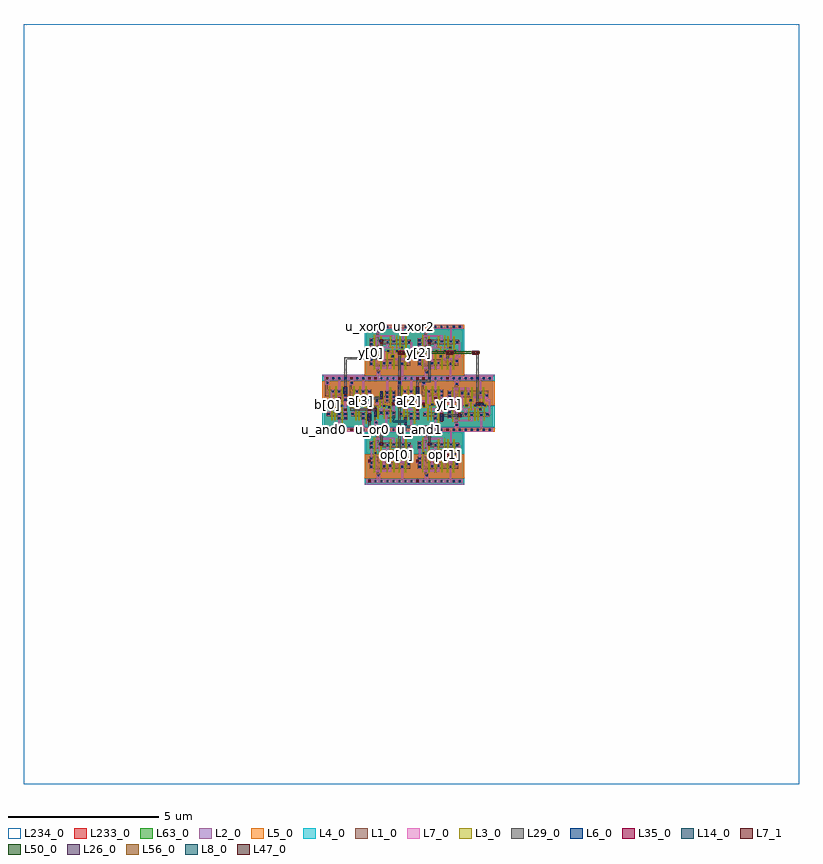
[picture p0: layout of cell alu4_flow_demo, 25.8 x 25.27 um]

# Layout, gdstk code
import gdstk
lib = gdstk.Library(unit=1e-6, precision=1e-09)
def R(c, l, rs):  # rectangles x0, y0, x1, y1
    for r in rs: c.add(gdstk.rectangle(r[:2], r[2:], *l))
def A(c, l, x, y, w, h, nx, ny, dx, dy):  # array of equal rectangles
    R(c, l, [(x+i*dx, y+j*dy, x+i*dx+w, y+j*dy+h) for i in range(nx) for j in range(ny)])
def P(c, l, *ps):  # polygons
    for p in ps: c.add(gdstk.Polygon(p, *l))
L1_0 = (1, 0)
L2_0 = (2, 0)
L3_0 = (3, 0)
L4_0 = (4, 0)
L5_0 = (5, 0)
L6_0 = (6, 0)
L7_0 = (7, 0)
L7_1 = (7, 1)
L8_0 = (8, 0)
L14_0 = (14, 0)
L26_0 = (26, 0)
L29_0 = (29, 0)
L35_0 = (35, 0)
L47_0 = (47, 0)
L50_0 = (50, 0)
L56_0 = (56, 0)
L63_0 = (63, 0)
L233_0 = (233, 0)
L234_0 = (234, 0)

and2x1 = lib.new_cell('AND2X1')
R(and2x1, L1_0, [(0,-0.06,0.8,0.06), (0,1.65,0.8,1.77)])
P(and2x1, L1_0, [(0.76,1.33),(0.11,1.33),(0.11,1.5),(0.17,1.5),(0.17,1.65),(0.05,1.65),(0.05,1.55),(0.04,1.55),(0.04,1.115),(0.475,1.115),(0.475,0.94),(0.76,0.94)],
  [(0.76,0.585),(0.09,0.585),(0.09,0.44),(0.435,0.44),(0.435,0.325),(0.76,0.325)])
R(and2x1, L2_0, [(-0.06,0.82,0.86,1.83)])
P(and2x1, L3_0, [(0.62,1.45),(0.575,1.45),(0.575,0.855),(0.51,0.855),(0.51,0.735),(0.575,0.735),(0.575,0.205),(0.62,0.205)],
  [(0.44,0.9),(0.415,0.9),(0.415,1.45),(0.37,1.45),(0.37,0.9),(0.335,0.9),(0.335,0.32),(0.38,0.32),(0.38,0.78),(0.44,0.78)],
  [(0.275,0.85),(0.205,0.85),(0.205,1.45),(0.16,1.45),(0.16,0.855),(0.05,0.855),(0.05,0.735),(0.23,0.735),(0.23,0.32),(0.275,0.32)])
R(and2x1, L4_0, [(-0.06,0.08,0.86,0.8), (-0.06,1.63,0.86,1.78)])
R(and2x1, L5_0, [(-0.06,-0.07,0.86,0.08), (-0.06,0.8,0.86,1.63)])
A(and2x1, L6_0, 0.07, -0.03, 0.06, 0.06, 4, 2, 0.2, 1.71)
A(and2x1, L6_0, 0.67, 0.97, 0.06, 0.06, 1, 3, 0, 0.135)
R(and2x1, L6_0, [(0.465,0.355,0.525,0.415), (0.67,0.355,0.73,0.415), (0.12,0.495,0.18,0.555), (0.465,0.495,0.525,0.555), (0.67,0.495,0.73,0.555), (0.085,0.765,0.145,0.825), (0.53,0.765,0.59,0.825), (0.36,0.81,0.42,0.87), (0.255,1.24,0.315,1.3), (0.465,1.24,0.525,1.3), (0.08,1.53,0.14,1.59)])
R(and2x1, L7_0, [(0.465,0.06,0.525,0.585), (0.05,0.71,0.145,0.98), (0.465,1.21,0.525,1.65), (0.04,1.5,0.17,1.65)])
P(and2x1, L7_0, [(0.74,0.755),(0.73,0.755),(0.73,1.33),(0.67,1.33),(0.67,0.755),(0.65,0.755),(0.65,0.58),(0.67,0.58),(0.67,0.325),(0.73,0.325),(0.73,0.58),(0.74,0.58)],
  [(0.59,0.855),(0.53,0.855),(0.53,0.715),(0.27,0.715),(0.27,1.21),(0.315,1.21),(0.315,1.33),(0.255,1.33),(0.255,1.27),(0.21,1.27),(0.21,0.605),(0.12,0.605),(0.12,0.465),(0.18,0.465),(0.18,0.545),(0.27,0.545),(0.27,0.645),(0.59,0.645)],
  [(0.565,1.11),(0.34,1.11),(0.34,0.78),(0.44,0.78),(0.44,0.98),(0.565,0.98)])
A(and2x1, L7_1, 0.06, -0.04, 0.08, 0.08, 1, 3, 0, 0.855)
R(and2x1, L7_1, [(0.66,0.625,0.74,0.705), (0.46,1.005,0.54,1.085)])
R(and2x1, L63_0, [(0,0,0.8,1.71)])
and2x1.add(gdstk.FlexPath([(0,0),(0.8,0)], 0.12, ends="flush", simple_path=True, layer=7, datatype=0))  # L7_0
and2x1.add(gdstk.FlexPath([(0,1.71),(0.8,1.71)], 0.12, ends="flush", simple_path=True, layer=7, datatype=0))  # L7_0
and2x1.add(gdstk.Label('VSS', (0.1,0), layer=7, texttype=1))
and2x1.add(gdstk.Label('VSS', (0.1,0), layer=7, texttype=1))
and2x1.add(gdstk.Label('Y', (0.7,0.665), layer=7, texttype=1))
and2x1.add(gdstk.Label('A', (0.5,1.045), layer=7, texttype=1))
and2x1.add(gdstk.Label('VDD', (0.1,1.71), layer=7, texttype=1))
and2x1.add(gdstk.Label('B', (0.1,0.855), layer=7, texttype=1))
and2x1.add(gdstk.Label('VDD', (0.1,1.71), layer=7, texttype=1))
and2x1.add(gdstk.Label('B', (0.1,0.855), layer=7, texttype=1))
and2x1.add(gdstk.Label('A', (0.5,1.045), layer=7, texttype=1))
and2x1.add(gdstk.Label('Y', (0.7,0.665), layer=7, texttype=1))
and2x1.add(gdstk.Label('AND2X1', (0,0.235), layer=63, texttype=0))

xor2x1 = lib.new_cell('XOR2X1')
R(xor2x1, L1_0, [(0,-0.06,1.6,0.06), (0,1.65,1.6,1.77)])
P(xor2x1, L1_0, [(1.48,0.575),(0.395,0.575),(0.395,0.64),(0.11,0.64),(0.11,0.38),(0.345,0.38),(0.345,0.06),(0.465,0.06),(0.465,0.215),(0.415,0.215),(0.415,0.43),(1.48,0.43)],
  [(1.46,1.29),(0.415,1.29),(0.415,1.46),(0.465,1.46),(0.465,1.65),(0.345,1.65),(0.345,1.29),(0.11,1.29),(0.11,0.9),(0.395,0.9),(0.395,1.075),(1.46,1.075)])
R(xor2x1, L2_0, [(-0.06,0.82,1.66,1.83)])
P(xor2x1, L3_0, [(1.395,0.865),(1.32,0.865),(1.32,1.41),(1.275,1.41),(1.275,0.82),(1.295,0.82),(1.295,0.31),(1.34,0.31),(1.34,0.745),(1.395,0.745)],
  [(1.235,0.745),(1.18,0.745),(1.18,1.025),(1.115,1.025),(1.115,1.41),(1.07,1.41),(1.07,0.975),(1.135,0.975),(1.135,0.675),(1.09,0.675),(1.09,0.31),(1.135,0.31),(1.135,0.625),(1.235,0.625)],
  [(1.075,0.855),(0.955,0.855),(0.955,0.755),(0.985,0.755),(0.985,0.3),(1.03,0.3),(1.03,0.755),(1.075,0.755)],
  [(0.935,1.41),(0.89,1.41),(0.89,1.025),(0.815,1.025),(0.815,0.925),(0.85,0.925),(0.85,0.695),(0.78,0.695),(0.78,0.31),(0.825,0.31),(0.825,0.65),(0.895,0.65),(0.895,0.925),(0.935,0.925)],
  [(0.79,0.865),(0.715,0.865),(0.715,1.41),(0.67,1.41),(0.67,0.755),(0.79,0.755)],
  [(0.51,1.41),(0.465,1.41),(0.465,0.85),(0.41,0.85),(0.41,0.73),(0.465,0.73),(0.465,0.31),(0.51,0.31)],
  [(0.35,0.835),(0.295,0.835),(0.295,1.41),(0.25,1.41),(0.25,0.26),(0.295,0.26),(0.295,0.715),(0.35,0.715)])
R(xor2x1, L4_0, [(-0.06,0.08,1.66,0.8), (-0.06,1.63,1.66,1.78)])
R(xor2x1, L5_0, [(-0.06,-0.07,1.66,0.08), (-0.06,0.8,1.66,1.63)])
A(xor2x1, L6_0, 0.07, -0.03, 0.06, 0.06, 8, 2, 0.2, 1.71)
A(xor2x1, L6_0, 0.14, 0.93, 0.06, 0.06, 1, 3, 0, 0.135)
R(xor2x1, L6_0, [(0.375,0.125,0.435,0.185), (0.14,0.42,0.2,0.48), (0.875,0.46,0.935,0.52), (1.185,0.46,1.245,0.52), (0.67,0.485,0.73,0.545), (1.39,0.485,1.45,0.545), (0.14,0.55,0.2,0.61), (1.155,0.655,1.215,0.715), (0.27,0.745,0.33,0.805), (0.43,0.76,0.49,0.82), (0.7,0.775,0.76,0.835), (0.985,0.775,1.045,0.835), (1.315,0.775,1.375,0.835), (0.845,0.945,0.905,1.005), (1.37,1.105,1.43,1.165), (0.765,1.17,0.825,1.23), (0.56,1.18,0.62,1.24), (1.165,1.2,1.225,1.26), (0.375,1.49,0.435,1.55)])
R(xor2x1, L7_0, [(0.345,0.06,0.465,0.215), (1.185,0.06,1.245,0.55), (1.165,1.17,1.225,1.65), (0.345,1.49,0.465,1.65)])
P(xor2x1, L7_0, [(1.525,1.01),(1.43,1.01),(1.43,1.195),(1.37,1.195),(1.37,1.11),(0.89,1.11),(0.89,1.005),(0.815,1.005),(0.815,0.945),(0.95,0.945),(0.95,1.05),(1.37,1.05),(1.37,0.945),(1.465,0.945),(1.465,0.575),(1.39,0.575),(1.39,0.455),(1.45,0.455),(1.45,0.515),(1.525,0.515)],
  [(1.405,0.87),(1.165,0.87),(1.165,0.92),(1.035,0.92),(1.035,0.87),(0.67,0.87),(0.67,0.775),(1.405,0.775)],
  [(1.245,0.715),(0.61,0.715),(0.61,1.135),(0.62,1.135),(0.62,1.27),(0.55,1.27),(0.55,0.655),(0.66,0.655),(0.66,0.455),(0.73,0.455),(0.73,0.655),(1.245,0.655)],
  [(0.935,0.55),(0.875,0.55),(0.875,0.335),(0.33,0.335),(0.33,1.33),(0.765,1.33),(0.765,1.14),(0.825,1.14),(0.825,1.39),(0.27,1.39),(0.27,0.275),(0.935,0.275)],
  [(0.565,0.54),(0.49,0.54),(0.49,0.85),(0.41,0.85),(0.41,0.41),(0.565,0.41)],
  [(0.2,1.29),(0.14,1.29),(0.14,1.11),(0.06,1.11),(0.06,0.98),(0.14,0.98),(0.14,0.38),(0.2,0.38)])
R(xor2x1, L7_1, [(0.06,-0.04,0.14,0.04), (0.46,0.435,0.54,0.515), (1.06,0.815,1.14,0.895), (0.06,1.005,0.14,1.085), (0.06,1.67,0.14,1.75)])
R(xor2x1, L63_0, [(0,0,1.6,1.71)])
xor2x1.add(gdstk.FlexPath([(0,0),(1.6,0)], 0.12, ends="flush", simple_path=True, layer=7, datatype=0))  # L7_0
xor2x1.add(gdstk.FlexPath([(0,1.71),(1.6,1.71)], 0.12, ends="flush", simple_path=True, layer=7, datatype=0))  # L7_0
xor2x1.add(gdstk.Label('A', (0.5,0.475), layer=7, texttype=1))
xor2x1.add(gdstk.Label('Y', (0.1,1.045), layer=7, texttype=1))
xor2x1.add(gdstk.Label('B', (1.1,0.855), layer=7, texttype=1))
xor2x1.add(gdstk.Label('VDD', (0.1,1.71), layer=7, texttype=1))
xor2x1.add(gdstk.Label('VSS', (0.1,0), layer=7, texttype=1))
xor2x1.add(gdstk.Label('VSS', (0.1,0), layer=7, texttype=1))
xor2x1.add(gdstk.Label('VDD', (0.1,1.71), layer=7, texttype=1))
xor2x1.add(gdstk.Label('A', (0.5,0.475), layer=7, texttype=1))
xor2x1.add(gdstk.Label('B', (1.1,0.855), layer=7, texttype=1))
xor2x1.add(gdstk.Label('Y', (0.1,1.045), layer=7, texttype=1))
xor2x1.add(gdstk.Label('XOR2X1', (0,0.265), layer=63, texttype=0))

or2x1 = lib.new_cell('OR2X1')
R(or2x1, L1_0, [(0,-0.06,0.8,0.06), (0,1.65,0.8,1.77)])
P(or2x1, L1_0, [(0.76,0.635),(0.065,0.635),(0.065,0.06),(0.185,0.06),(0.185,0.3),(0.115,0.3),(0.115,0.49),(0.475,0.49),(0.475,0.375),(0.76,0.375)],
  [(0.76,1.29),(0.435,1.29),(0.435,1.115),(0.095,1.115),(0.095,0.9),(0.76,0.9)])
R(or2x1, L2_0, [(-0.06,0.82,0.86,1.83)])
P(or2x1, L3_0, [(0.45,0.85),(0.385,0.85),(0.385,1.235),(0.34,1.235),(0.34,0.73),(0.37,0.73),(0.37,0.37),(0.415,0.37),(0.415,0.73),(0.45,0.73)],
  [(0.28,1.235),(0.235,1.235),(0.235,0.79),(0.04,0.79),(0.04,0.69),(0.165,0.69),(0.165,0.37),(0.21,0.37),(0.21,0.745),(0.28,0.745)],
  [(0.62,1.41),(0.575,1.41),(0.575,0.81),(0.515,0.81),(0.515,0.69),(0.575,0.69),(0.575,0.255),(0.62,0.255)])
R(or2x1, L4_0, [(-0.06,0.08,0.86,0.8), (-0.06,1.63,0.86,1.78)])
R(or2x1, L5_0, [(-0.06,-0.07,0.86,0.08), (-0.06,0.8,0.86,1.63)])
A(or2x1, L6_0, 0.07, -0.03, 0.06, 0.06, 4, 2, 0.2, 1.71)
A(or2x1, L6_0, 0.67, 0.93, 0.06, 0.06, 1, 3, 0, 0.135)
R(or2x1, L6_0, [(0.095,0.21,0.155,0.27), (0.67,0.405,0.73,0.465), (0.465,0.52,0.525,0.58), (0.26,0.535,0.32,0.595), (0.67,0.535,0.73,0.595), (0.07,0.71,0.13,0.77), (0.535,0.72,0.595,0.78), (0.36,0.76,0.42,0.82), (0.125,0.93,0.185,0.99), (0.465,0.94,0.525,1), (0.465,1.065,0.525,1.125), (0.465,1.2,0.525,1.26)])
R(or2x1, L7_0, [(0.065,0.06,0.185,0.3), (0.04,0.58,0.14,0.8), (0.465,0.91,0.525,1.65)])
P(or2x1, L7_0, [(0.75,0.94),(0.73,0.94),(0.73,1.29),(0.67,1.29),(0.67,0.375),(0.73,0.375),(0.73,0.595),(0.75,0.595)],
  [(0.555,0.58),(0.435,0.58),(0.435,0.06),(0.495,0.06),(0.495,0.51),(0.555,0.51)],
  [(0.595,0.81),(0.535,0.81),(0.535,0.7),(0.26,0.7),(0.26,0.92),(0.185,0.92),(0.185,1.025),(0.125,1.025),(0.125,0.86),(0.2,0.86),(0.2,0.63),(0.26,0.63),(0.26,0.505),(0.32,0.505),(0.32,0.64),(0.595,0.64)],
  [(0.45,0.82),(0.39,0.82),(0.39,1.055),(0.34,1.055),(0.34,1.125),(0.26,1.125),(0.26,0.98),(0.32,0.98),(0.32,0.76),(0.45,0.76)])
R(or2x1, L7_1, [(0.06,-0.04,0.14,0.04), (0.06,0.625,0.14,0.705), (0.66,0.815,0.74,0.895), (0.26,1.005,0.34,1.085), (0.06,1.67,0.14,1.75)])
R(or2x1, L63_0, [(0,0,0.8,1.71)])
or2x1.add(gdstk.FlexPath([(0,0),(0.8,0)], 0.12, ends="flush", simple_path=True, layer=7, datatype=0))  # L7_0
or2x1.add(gdstk.FlexPath([(0,1.71),(0.8,1.71)], 0.12, ends="flush", simple_path=True, layer=7, datatype=0))  # L7_0
or2x1.add(gdstk.Label('VSS', (0.1,0), layer=7, texttype=1))
or2x1.add(gdstk.Label('Y', (0.7,0.855), layer=7, texttype=1))
or2x1.add(gdstk.Label('A', (0.3,1.045), layer=7, texttype=1))
or2x1.add(gdstk.Label('B', (0.1,0.665), layer=7, texttype=1))
or2x1.add(gdstk.Label('VDD', (0.1,1.71), layer=7, texttype=1))
or2x1.add(gdstk.Label('VSS', (0.1,0), layer=7, texttype=1))
or2x1.add(gdstk.Label('VDD', (0.1,1.71), layer=7, texttype=1))
or2x1.add(gdstk.Label('B', (0.1,0.665), layer=7, texttype=1))
or2x1.add(gdstk.Label('A', (0.3,1.045), layer=7, texttype=1))
or2x1.add(gdstk.Label('Y', (0.7,0.855), layer=7, texttype=1))
or2x1.add(gdstk.Label('OR2X1', (0,0.285), layer=63, texttype=0))

m2_m1_hv = lib.new_cell('M2_M1_HV')
R(m2_m1_hv, L14_0, [(-0.065,-0.04,0.065,0.04)])
R(m2_m1_hv, L26_0, [(-0.035,-0.035,0.035,0.035)])
R(m2_m1_hv, L35_0, [(-0.04,-0.065,0.04,0.065)])

m2_m1_1x2_vv_n = lib.new_cell('M2_M1_1x2_VV_N')
R(m2_m1_1x2_vv_n, L14_0, [(-0.04,-0.04,0.04,0.23)])
R(m2_m1_1x2_vv_n, L26_0, [(-0.035,-0.01,0.035,0.06), (-0.035,0.13,0.035,0.2)])
R(m2_m1_1x2_vv_n, L35_0, [(-0.04,-0.04,0.04,0.23)])

m2_m1_1x2_vv_s = lib.new_cell('M2_M1_1x2_VV_S')
R(m2_m1_1x2_vv_s, L14_0, [(-0.04,-0.23,0.04,0.04)])
R(m2_m1_1x2_vv_s, L26_0, [(-0.035,-0.2,0.035,-0.13), (-0.035,-0.06,0.035,0.01)])
R(m2_m1_1x2_vv_s, L35_0, [(-0.04,-0.23,0.04,0.04)])

m2_m1_2x1_hv_e = lib.new_cell('M2_M1_2x1_HV_E')
R(m2_m1_2x1_hv_e, L14_0, [(-0.065,-0.04,0.205,0.04)])
R(m2_m1_2x1_hv_e, L26_0, [(-0.035,-0.035,0.035,0.035), (0.105,-0.035,0.175,0.035)])
R(m2_m1_2x1_hv_e, L35_0, [(-0.04,-0.065,0.18,0.065)])

m3_m2_2x1_vh_e = lib.new_cell('M3_M2_2x1_VH_E')
R(m3_m2_2x1_vh_e, L35_0, [(-0.04,-0.065,0.18,0.065)])
R(m3_m2_2x1_vh_e, L47_0, [(-0.035,-0.035,0.035,0.035), (0.105,-0.035,0.175,0.035)])
R(m3_m2_2x1_vh_e, L56_0, [(-0.065,-0.04,0.205,0.04)])

m3_m2_2x1_vh_w = lib.new_cell('M3_M2_2x1_VH_W')
R(m3_m2_2x1_vh_w, L35_0, [(-0.18,-0.065,0.04,0.065)])
R(m3_m2_2x1_vh_w, L47_0, [(-0.175,-0.035,-0.105,0.035), (-0.035,-0.035,0.035,0.035)])
R(m3_m2_2x1_vh_w, L56_0, [(-0.205,-0.04,0.065,0.04)])

m2_m1_1x2_hv_n = lib.new_cell('M2_M1_1x2_HV_N')
R(m2_m1_1x2_hv_n, L14_0, [(-0.065,-0.04,0.065,0.18)])
R(m2_m1_1x2_hv_n, L26_0, [(-0.035,-0.035,0.035,0.035), (-0.035,0.105,0.035,0.175)])
R(m2_m1_1x2_hv_n, L35_0, [(-0.04,-0.065,0.04,0.205)])

m2_m1_1x2_hv_s = lib.new_cell('M2_M1_1x2_HV_S')
R(m2_m1_1x2_hv_s, L14_0, [(-0.065,-0.18,0.065,0.04)])
R(m2_m1_1x2_hv_s, L26_0, [(-0.035,-0.175,0.035,-0.105), (-0.035,-0.035,0.035,0.035)])
R(m2_m1_1x2_hv_s, L35_0, [(-0.04,-0.205,0.04,0.065)])

m2_m1_1x2_vv_c = lib.new_cell('M2_M1_1x2_VV_C')
R(m2_m1_1x2_vv_c, L14_0, [(-0.04,-0.135,0.04,0.135)])
R(m2_m1_1x2_vv_c, L26_0, [(-0.035,-0.105,0.035,-0.035), (-0.035,0.035,0.035,0.105)])
R(m2_m1_1x2_vv_c, L35_0, [(-0.04,-0.135,0.04,0.135)])

alu4_flow_demo = lib.new_cell('alu4_flow_demo')
R(alu4_flow_demo, L29_0, [(14.06,14.16,14.14,14.345)])
A(alu4_flow_demo, L233_0, 10, 11.78, 0.8, 1.71, 5, 1, 0.8, 0)
R(alu4_flow_demo, L233_0, [(11.4,10.07,13,11.78), (13,10.07,14.6,11.78), (14,11.78,15.6,13.49), (11.4,13.49,13,15.2), (13,13.49,14.6,15.2)])
R(alu4_flow_demo, L234_0, [(0,0,25.8,25.27)])
alu4_flow_demo.add(gdstk.FlexPath([(11.3,12.825),(11.9,12.825)], 0.08, ends="extended", simple_path=True, layer=29, datatype=0))  # L29_0
alu4_flow_demo.add(gdstk.FlexPath([(10.9,12.445),(11.7,12.445)], 0.08, ends="extended", simple_path=True, layer=29, datatype=0))  # L29_0
alu4_flow_demo.add(gdstk.FlexPath([(10.9,12.445),(10.9,12.635)], 0.08, ends="extended", simple_path=True, layer=29, datatype=0))  # L29_0
alu4_flow_demo.add(gdstk.FlexPath([(12.5,14.345),(14.1,14.345)], 0.08, ends="extended", simple_path=True, layer=50, datatype=0))  # L50_0
alu4_flow_demo.add(gdstk.FlexPath([(12.5,10.925),(12.5,14.345)], 0.08, ends="extended", simple_path=True, layer=29, datatype=0))  # L29_0
alu4_flow_demo.add(gdstk.FlexPath([(14.1,14.345),(15.1,14.345)], 0.08, ends="extended", simple_path=True, layer=50, datatype=0))  # L50_0
alu4_flow_demo.add(gdstk.FlexPath([(15.1,12.635),(15.1,14.345)], 0.08, ends="extended", simple_path=True, layer=29, datatype=0))  # L29_0
alu4_flow_demo.add(gdstk.FlexPath([(10.7,13.015),(10.7,14.155)], 0.08, ends="extended", simple_path=True, layer=29, datatype=0))  # L29_0
alu4_flow_demo.add(gdstk.FlexPath([(10.7,14.155),(11.9,14.155)], 0.08, ends="extended", simple_path=True, layer=29, datatype=0))  # L29_0
alu4_flow_demo.add(gdstk.FlexPath([(11.9,14.155),(11.9,14.725)], 0.08, ends="extended", simple_path=True, layer=29, datatype=0))  # L29_0
alu4_flow_demo.add(gdstk.FlexPath([(13.9,12.255),(14.5,12.255)], 0.08, ends="extended", simple_path=True, layer=29, datatype=0))  # L29_0
alu4_flow_demo.add(gdstk.FlexPath([(13.1,13.015),(13.1,13.395)], 0.08, ends="extended", simple_path=True, layer=29, datatype=0))  # L29_0
alu4_flow_demo.add(gdstk.FlexPath([(13.1,13.395),(13.5,13.395)], 0.08, ends="extended", simple_path=True, layer=29, datatype=0))  # L29_0
alu4_flow_demo.add(gdstk.FlexPath([(13.5,13.395),(13.5,14.725)], 0.08, ends="extended", simple_path=True, layer=29, datatype=0))  # L29_0
alu4_flow_demo.add(gdstk.FlexPath([(11.5,11.875),(11.9,11.875)], 0.08, ends="extended", simple_path=True, layer=29, datatype=0))  # L29_0
alu4_flow_demo.add(gdstk.FlexPath([(11.5,11.875),(11.5,12.255)], 0.08, ends="extended", simple_path=True, layer=29, datatype=0))  # L29_0
alu4_flow_demo.add(gdstk.FlexPath([(11.9,11.305),(11.9,11.875)], 0.08, ends="extended", simple_path=True, layer=29, datatype=0))  # L29_0
alu4_flow_demo.add(gdstk.FlexPath([(12.7,11.875),(13.5,11.875)], 0.08, ends="extended", simple_path=True, layer=29, datatype=0))  # L29_0
alu4_flow_demo.add(gdstk.FlexPath([(12.3,12.065),(12.7,12.065)], 0.06, ends="extended", simple_path=True, layer=8, datatype=0))  # L8_0
alu4_flow_demo.add(gdstk.FlexPath([(12.3,12.065),(12.3,12.255)], 0.06, ends=(0.03, 0), simple_path=True, layer=8, datatype=0))  # L8_0
alu4_flow_demo.add(gdstk.FlexPath([(12.7,11.875),(12.7,12.065)], 0.08, ends="extended", simple_path=True, layer=29, datatype=0))  # L29_0
alu4_flow_demo.add(gdstk.FlexPath([(13.5,11.305),(13.5,11.875)], 0.08, ends="extended", simple_path=True, layer=29, datatype=0))  # L29_0
alu4_flow_demo.add(gdstk.Reference(and2x1, (10,11.78)))
alu4_flow_demo.add(gdstk.Reference(and2x1, (13.2,11.78)))
alu4_flow_demo.add(gdstk.Reference(and2x1, (12.4,11.78)))
alu4_flow_demo.add(gdstk.Reference(and2x1, (10.8,11.78)))
alu4_flow_demo.add(gdstk.Reference(xor2x1, (11.4,15.2), x_reflection=True))
alu4_flow_demo.add(gdstk.Reference(xor2x1, (14,11.78)))
alu4_flow_demo.add(gdstk.Reference(xor2x1, (13,15.2), x_reflection=True))
alu4_flow_demo.add(gdstk.Reference(xor2x1, (11.4,11.78), x_reflection=True))
alu4_flow_demo.add(gdstk.Reference(or2x1, (11.6,11.78)))
alu4_flow_demo.add(gdstk.Reference(xor2x1, (13,11.78), x_reflection=True))
alu4_flow_demo.add(gdstk.Reference(m2_m1_hv, (11.3,12.825)))
alu4_flow_demo.add(gdstk.Reference(m2_m1_1x2_vv_n, (11.9,12.825)))
alu4_flow_demo.add(gdstk.Reference(m2_m1_1x2_vv_n, (10.9,12.635)))
alu4_flow_demo.add(gdstk.Reference(m2_m1_1x2_vv_s, (11.7,12.445)))
alu4_flow_demo.add(gdstk.Reference(m2_m1_2x1_hv_e, (12.5,10.925)))
alu4_flow_demo.add(gdstk.Reference(m2_m1_2x1_hv_e, (12.5,14.345)))
alu4_flow_demo.add(gdstk.Reference(m3_m2_2x1_vh_e, (12.5,14.345)))
alu4_flow_demo.add(gdstk.Reference(m2_m1_2x1_hv_e, (14.1,14.345)))
alu4_flow_demo.add(gdstk.Reference(m3_m2_2x1_vh_e, (14.1,14.345)))
alu4_flow_demo.add(gdstk.Reference(m2_m1_2x1_hv_e, (15.1,12.635)))
alu4_flow_demo.add(gdstk.Reference(m3_m2_2x1_vh_w, (15.1,14.345)))
alu4_flow_demo.add(gdstk.Reference(m2_m1_1x2_hv_n, (10.7,13.015)))
alu4_flow_demo.add(gdstk.Reference(m2_m1_hv, (11.9,14.725)))
alu4_flow_demo.add(gdstk.Reference(m2_m1_1x2_hv_s, (13.9,12.255)))
alu4_flow_demo.add(gdstk.Reference(m2_m1_hv, (14.5,12.255)))
alu4_flow_demo.add(gdstk.Reference(m2_m1_1x2_hv_n, (13.1,13.015)))
alu4_flow_demo.add(gdstk.Reference(m2_m1_hv, (13.5,14.725)))
alu4_flow_demo.add(gdstk.Reference(m2_m1_1x2_hv_s, (11.5,12.255)))
alu4_flow_demo.add(gdstk.Reference(m2_m1_hv, (11.9,11.305)))
alu4_flow_demo.add(gdstk.Reference(m2_m1_1x2_vv_c, (12.7,12.065)))
alu4_flow_demo.add(gdstk.Reference(m2_m1_hv, (13.5,11.305)))
alu4_flow_demo.add(gdstk.Label('u_and0', (10,11.78), layer=232, texttype=0))
alu4_flow_demo.add(gdstk.Label('u_and1', (13.2,11.78), layer=232, texttype=0))
alu4_flow_demo.add(gdstk.Label('u_and2', (12.4,11.78), layer=232, texttype=0))
alu4_flow_demo.add(gdstk.Label('u_and3', (10.8,11.78), layer=232, texttype=0))
alu4_flow_demo.add(gdstk.Label('u_xor0', (11.4,15.2), layer=232, texttype=0))
alu4_flow_demo.add(gdstk.Label('u_xor1', (14,11.78), layer=232, texttype=0))
alu4_flow_demo.add(gdstk.Label('u_xor2', (13,15.2), layer=232, texttype=0))
alu4_flow_demo.add(gdstk.Label('u_xor3', (11.4,11.78), layer=232, texttype=0))
alu4_flow_demo.add(gdstk.Label('u_or0', (11.6,11.78), layer=232, texttype=0))
alu4_flow_demo.add(gdstk.Label('u_xor4', (13,11.78), layer=232, texttype=0))
alu4_flow_demo.add(gdstk.Label('a[3]', (11.227,12.758), layer=20, texttype=0))
alu4_flow_demo.add(gdstk.Label('a[2]', (12.827,12.758), layer=20, texttype=0))
alu4_flow_demo.add(gdstk.Label('a[1]', (13.627,12.758), layer=20, texttype=0))
alu4_flow_demo.add(gdstk.Label('a[0]', (10.427,12.758), layer=20, texttype=0))
alu4_flow_demo.add(gdstk.Label('b[3]', (10.898,12.625), layer=20, texttype=0))
alu4_flow_demo.add(gdstk.Label('b[2]', (12.498,12.625), layer=20, texttype=0))
alu4_flow_demo.add(gdstk.Label('b[1]', (13.298,12.625), layer=20, texttype=0))
alu4_flow_demo.add(gdstk.Label('b[0]', (10.098,12.625), layer=20, texttype=0))
alu4_flow_demo.add(gdstk.Label('op[1]', (14.043,10.952), layer=20, texttype=0))
alu4_flow_demo.add(gdstk.Label('op[0]', (12.443,10.952), layer=20, texttype=0))
alu4_flow_demo.add(gdstk.Label('y[3]', (11.559,10.912), layer=20, texttype=0))
alu4_flow_demo.add(gdstk.Label('y[2]', (13.159,14.332), layer=20, texttype=0))
alu4_flow_demo.add(gdstk.Label('y[1]', (14.159,12.649), layer=20, texttype=0))
alu4_flow_demo.add(gdstk.Label('y[0]', (11.559,14.332), layer=20, texttype=0))
alu4_flow_demo.add(gdstk.Label('cout', (13.159,10.912), layer=20, texttype=0))
alu4_flow_demo.add(gdstk.Label('a[3]', (11.3,12.825), layer=39, texttype=0))
alu4_flow_demo.add(gdstk.Label('b[3]', (10.9,12.445), layer=39, texttype=0))
alu4_flow_demo.add(gdstk.Label('op[0]', (12.5,14.345), layer=60, texttype=0))
alu4_flow_demo.add(gdstk.Label('n0', (10.7,13.015), layer=39, texttype=0))
alu4_flow_demo.add(gdstk.Label('n1', (13.9,12.255), layer=39, texttype=0))
alu4_flow_demo.add(gdstk.Label('n2', (13.1,13.015), layer=39, texttype=0))
alu4_flow_demo.add(gdstk.Label('n3', (11.5,11.875), layer=39, texttype=0))
alu4_flow_demo.add(gdstk.Label('c0', (12.7,11.875), layer=39, texttype=0))

lib.write_gds('alu4_flow_demo.gds')
